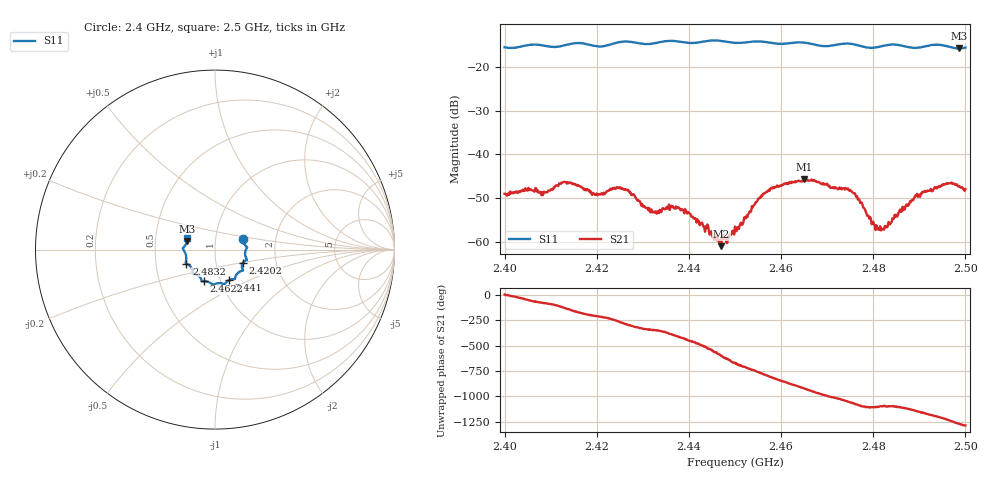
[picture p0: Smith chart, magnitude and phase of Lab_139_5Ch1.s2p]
# Hz S RI R 50
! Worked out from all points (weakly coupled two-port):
!   601 points, 2.4 GHz to 2.5 GHz, reference 50 ohm
!   highest |S21| = -45.71 dB at 2.465 GHz (marker M1); lowest = -61.0 dB at 2.447 GHz (marker M2)
!   lowest |S11| = -15.8 dB at 2.4987 GHz (marker M3), VSWR 1.39, Z = 36.4 + j3.38 ohm
!   |S11| at or under -10 dB: start of sweep to end of sweep
!   S12 and S22 are empty: the file has one direction only
!   S11 on the Smith chart (normalised r, x): 2.4 GHz: 1.36, +0.17; 2.4202 GHz: 1.35, -0.20; 2.441 GHz: 1.09, -0.39; 2.4622 GHz: 0.83, -0.30; 2.4832 GHz: 0.72, -0.12; 2.5 GHz: 0.73, +0.10
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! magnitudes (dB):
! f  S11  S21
! 2.4 GHz  -15.5  -49.0
! 2.4085 GHz  -15.1  -48.5
! 2.4128 GHz  -15.1  -46.3
! 2.4167 GHz  -14.6  -47.6
! 2.4202 GHz  -15.3  -49.3
! 2.4253 GHz  -14.3  -47.8
! 2.4333 GHz  -14.4  -53.0
! 2.4375 GHz  -14.2  -52.1
! 2.441 GHz  -14.5  -54.7
! 2.447 GHz  -14.1  -61.0
! 2.45 GHz  -14.5  -56.5
! 2.4563 GHz  -14.3  -48.9
! 2.4622 GHz  -14.5  -46.6
! 2.465 GHz  -14.5  -45.7
! 2.4667 GHz  -14.7  -45.8
! 2.475 GHz  -14.7  -48.1
! 2.4808 GHz  -15.5  -56.8
! 2.4832 GHz  -15.0  -56.4
! 2.4833 GHz  -15.0  -55.5
! 2.4895 GHz  -15.6  -49.0
! 2.4987 GHz  -15.8  -47.2
! 2.5 GHz  -15.6  -48.0
